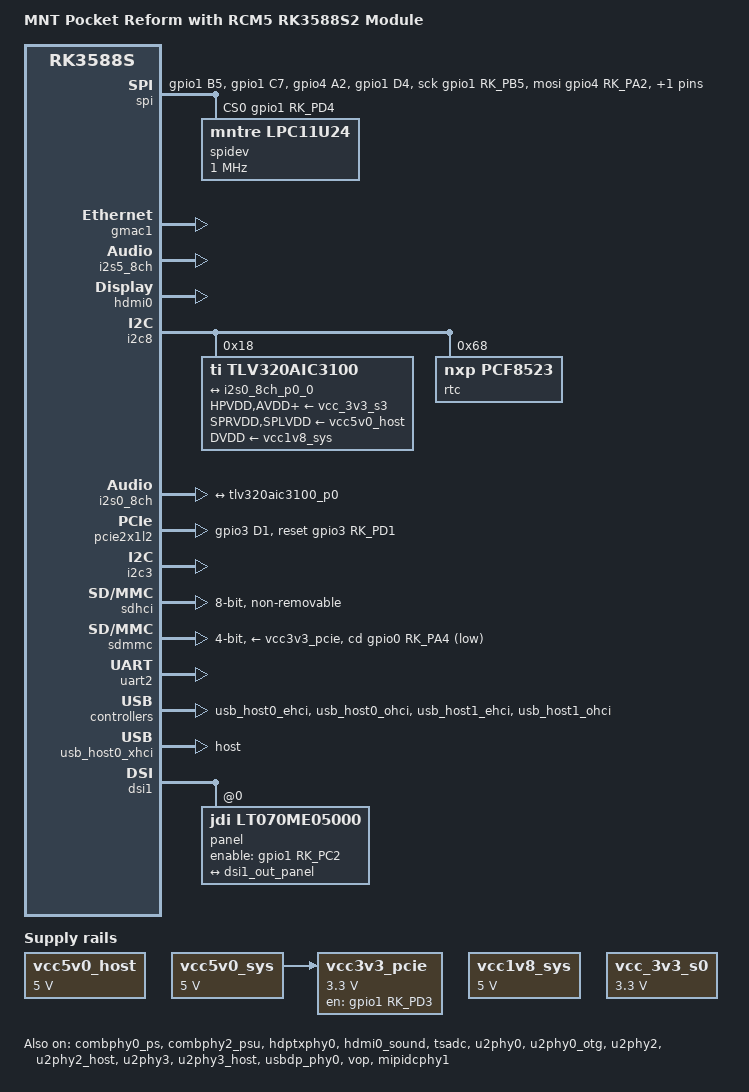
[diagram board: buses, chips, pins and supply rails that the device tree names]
// SPDX-License-Identifier: (GPL-2.0+ OR MIT)
/*
 * Copyright (c) 2021 Rockchip Electronics Co., Ltd.
 * Copyright (c) 2024-2026 MNT Research GmbH
 *
 */

/dts-v1/;

#include <dt-bindings/gpio/gpio.h>
#include <dt-bindings/input/input.h>
#include <dt-bindings/pinctrl/rockchip.h>
#include <dt-bindings/usb/pd.h>
#include <dt-bindings/soc/rockchip,vop2.h>
#include "rk3588s.dtsi"
#include "rk3588s-radxa-cm5.dtsi"

/ {
	model = "MNT Pocket Reform with RCM5 RK3588S2 Module";
	compatible = "mntre,pocket-reform-rcore", "radxa,cm5", "rockchip,rk3588s";

	aliases {
		ethernet0 = &gmac1;
		serial2 = &uart2;
		mmc0 = &sdhci;
		mmc1 = &sdmmc;
	};

	chosen {
		stdout-path = "serial2:1500000n8";
	};

	analog-sound {
		compatible = "audio-graph-card";
		label = "rk3588-tlv320aic3100";

		widgets =
			"Headphone", "Headphone Jack",
			"Microphone", "Microphone Jack",
			"Speaker", "Speaker";

		routing =
		"MIC1RP", "MICBIAS",
		"MIC1RP", "Microphone Jack",
		"Headphone Jack", "HPR",
		"Speaker", "SPK";

		dais = <&i2s0_8ch_p0>;
	};

	vcc5v0_host: vcc5v0-host {
		compatible = "regulator-fixed";
		regulator-name = "vcc5v0_host";
		regulator-boot-on;
		regulator-always-on;
		regulator-min-microvolt = <5000000>;
		regulator-max-microvolt = <5000000>;
	};

	vcc5v0_sys: vcc5v0-sys {
		compatible = "regulator-fixed";
		regulator-name = "vcc5v0_sys";
		regulator-always-on;
		regulator-boot-on;
		regulator-min-microvolt = <5000000>;
		regulator-max-microvolt = <5000000>;
	};

	vcc1v8_sys: vcc5v0-sys {
		compatible = "regulator-fixed";
		regulator-name = "vcc1v8_sys";
		regulator-always-on;
		regulator-boot-on;
		regulator-min-microvolt = <5000000>;
		regulator-max-microvolt = <5000000>;
	};

	vcc3v3_pcie: regulator-3v3-vcc-pcie {
		compatible = "regulator-fixed";
		regulator-name = "vcc3v3_pcie2x1l0";
		regulator-min-microvolt = <3300000>;
		regulator-max-microvolt = <3300000>;
		enable-active-high;
		gpios = <&gpio1 RK_PD3 GPIO_ACTIVE_HIGH>;
		startup-delay-us = <50000>;
		vin-supply = <&vcc5v0_sys>;
	};

	vcc_3v3_s0: pldo-reg4 {
		compatible = "regulator-fixed";
		regulator-name = "vcc_3v3_s0";
		regulator-always-on;
		regulator-boot-on;
		regulator-min-microvolt = <3300000>;
		regulator-max-microvolt = <3300000>;
		regulator-ramp-delay = <12500>;

		regulator-state-mem {
			regulator-off-in-suspend;
		};
	};

	spi {
		compatible = "spi-gpio";
		#address-cells = <0x1>;
		ranges;

		pinctrl-names = "default";
		pinctrl-0 = <&spi_pins>;

		sck-gpios = <&gpio1 RK_PB5 0>; // GPIO7
		miso-gpios = <&gpio1 RK_PC7 0>; // GPIO5
		mosi-gpios = <&gpio4 RK_PA2 0>; // GPIO6
		cs-gpios = <&gpio1 RK_PD4 0>; // GPIO4
		num-chipselects = <1>;

		spidev@0 {
			compatible = "mntre,lpc11u24";
			spi-max-frequency = <1000000>;
			reg = <0>;
		};
	};
};

&combphy0_ps {
	status = "okay";
};

&combphy2_psu {
	status = "okay";
};

&display_subsystem {
	clocks = <&hdptxphy0>; //, <&hdptxphy1>;
	clock-names = "pll_hdmiphy0"; //, "pll_hdmiphy1";
};

&gmac1 {
	status = "okay";
};

&hdptxphy0 {
	status = "okay";
};

&hdmi0_sound {
	status = "okay";
};

&i2s5_8ch {
	status = "okay";
};

&hdmi0 {
	status = "okay";
};

&hdmi0_in {
	hdmi0_in_vp0: endpoint {
		remote-endpoint = <&vp0_out_hdmi0>;
	};
};

/*&hdptxphy1 {
	status = "okay";
};*/

&i2c8 {
	status = "okay";
	pinctrl-names = "default";
	pinctrl-0 = <&i2c8m2_xfer>;

	tlv320aic3100: codec@18 {
		compatible = "ti,tlv320aic3100";
		reg = <0x18>;
		assigned-clocks = <&cru I2S0_8CH_MCLKOUT>;
		assigned-clock-rates = <12288000>;
		clocks = <&cru I2S0_8CH_MCLKOUT>;
		clock-names = "mclk";
		ai31xx-micbias-vg = <2>;
		#sound-dai-cells = <0>;

		HPVDD-supply = <&vcc_3v3_s3>;
		SPRVDD-supply = <&vcc5v0_host>;
		SPLVDD-supply = <&vcc5v0_host>;
		AVDD-supply = <&vcc_3v3_s3>;
		IOVDD-supply = <&vcc_3v3_s3>;
		DVDD-supply = <&vcc1v8_sys>;

		status = "okay";

		port {
			tlv320aic3100_p0: endpoint {
				remote-endpoint = <&i2s0_8ch_p0_0>;
			};
		};
	};

	rtc@68 {
		compatible = "nxp,pcf8523";
		reg = <0x68>;
	};
};

&i2s0_8ch {
	pinctrl-names = "default";
	pinctrl-0 = <&i2s0_lrck
		     &i2s0_mclk
		     &i2s0_sclk
		     &i2s0_sdi0
		     &i2s0_sdo0>;
	status = "okay";

	i2s0_8ch_p0: port {
		i2s0_8ch_p0_0: endpoint {
			dai-format = "i2s";
			remote-endpoint = <&tlv320aic3100_p0>;
		};
	};
};

&pcie2x1l2 {
	/* checked, correct */
	reset-gpios = <&gpio3 RK_PD1 GPIO_ACTIVE_HIGH>;
	pinctrl-names = "default";
	pinctrl-0 = <&pcie2_0_rst>;
	status = "okay";
};

/*&pcie2x1l1 {
	reset-gpios = <&gpio3 RK_PA0 GPIO_ACTIVE_HIGH>;
	pinctrl-names = "default";
	pinctrl-0 = <&pcie2_1_rst>;
	status = "okay";
};*/

&i2c3 {
	status = "okay";
};

&tsadc {
	status = "okay";
};

&sdhci {
	bus-width = <8>;
	no-sdio;
	no-sd;
	non-removable;
	max-frequency = <150000000>;
	mmc-hs400-1_8v;
	mmc-hs400-enhanced-strobe;
	status = "okay";
};

&sdmmc {
	bus-width = <4>;
	max-frequency = <20000000>;
	no-sdio;
	no-mmc;
	no-1-8-v;
	cap-sd-highspeed;
	vqmmc-supply = <&vcc3v3_pcie>;
	vmmc-supply = <&vcc3v3_pcie>;
	cd-gpios = <&gpio0 RK_PA4 GPIO_ACTIVE_LOW>;
	disable-wp;
	status = "okay";
};

&pinctrl {
	pcie2 {
		pcie2_0_rst: pcie2-0-rst {
			rockchip,pins = <3 RK_PD1 RK_FUNC_GPIO &pcfg_pull_none>;
		};
	};

	pcie2_1 {
		pcie2_1_rst: pcie2-1-reset {
			rockchip,pins = <3 RK_PA0 RK_FUNC_GPIO &pcfg_pull_none>;
		};
	};

	disp {
		disp_en: disp-en {
			rockchip,pins = <1 RK_PC2 RK_FUNC_GPIO &pcfg_pull_none>;
		};
	};

	spipins {
		spi_pins: spi-pins {
			rockchip,pins =
			/* GPIO7 */
			<1 RK_PB5 RK_FUNC_GPIO &pcfg_pull_none>,
			/* GPIO5 */
			<1 RK_PC7 RK_FUNC_GPIO &pcfg_pull_none>,
			/* GPIO6 */
			<4 RK_PA2 RK_FUNC_GPIO &pcfg_pull_none>,
			/* GPIO4 */
			<1 RK_PD4 RK_FUNC_GPIO &pcfg_pull_none>;
		};
	};
};

&u2phy0 {
	status = "okay";
};

&u2phy0_otg {
	status = "okay";
};

&u2phy2 {
	status = "okay";
};

&u2phy2_host {
	phy-supply = <&vcc5v0_host>;
	status = "okay";
};

&u2phy3 {
	status = "okay";
};

&u2phy3_host {
	phy-supply = <&vcc5v0_host>;
	status = "okay";
};

&uart2 {
	pinctrl-0 = <&uart2m0_xfer>;
	status = "okay";
};

&usb_host0_ehci {
	status = "okay";
};

&usb_host0_ohci {
	status = "okay";
};

&usb_host1_ehci {
	status = "okay";
};

&usb_host1_ohci {
	status = "okay";
};

&usbdp_phy0 {
	status = "okay";
};

&usb_host0_xhci {
	dr_mode = "host";
	status = "okay";
};

&vop_mmu {
	status = "okay";
};

&vop {
	status = "okay";
};

&vp0 {
	vp0_out_hdmi0: endpoint@ROCKCHIP_VOP2_EP_HDMI0 {
		reg = <ROCKCHIP_VOP2_EP_HDMI0>;
		remote-endpoint = <&hdmi0_in_vp0>;
	};
};

&dsi1 {
	status = "okay";
	rockchip,lane-rate = <972000>;

	panel {
		compatible = "jdi,lt070me05000";
		reg = <0>;

		pinctrl-names = "default";
		pinctrl-0 = <&disp_en>;
		
		// reset is driven by rp2040
		// dcdc en is also driven by rp2040
		// actually backlight enable
		enable-gpios = <&gpio1 RK_PC2 GPIO_ACTIVE_HIGH>;
		no-eot-hfp-hbp-hsa;

		port {
			mipi_panel_in: endpoint {
				remote-endpoint = <&dsi1_out_panel>;
			};
		};
	};
};

&dsi1_in {
	dsi1_in_vp2: endpoint {
		remote-endpoint = <&vp2_out_dsi1>;
	};
};

&dsi1_out {
	dsi1_out_panel: endpoint {
		remote-endpoint = <&mipi_panel_in>;
	};
};

&vp2 {
	assigned-clocks = <&cru DCLK_VOP2_SRC>;
	assigned-clock-parents = <&cru PLL_V0PLL>;

	vp2_out_dsi1: endpoint@ROCKCHIP_VOP2_EP_MIPI1 {
		reg = <ROCKCHIP_VOP2_EP_MIPI1>;
		remote-endpoint = <&dsi1_in_vp2>;
	};
};

&mipidcphy1 {
	status = "okay";
};
